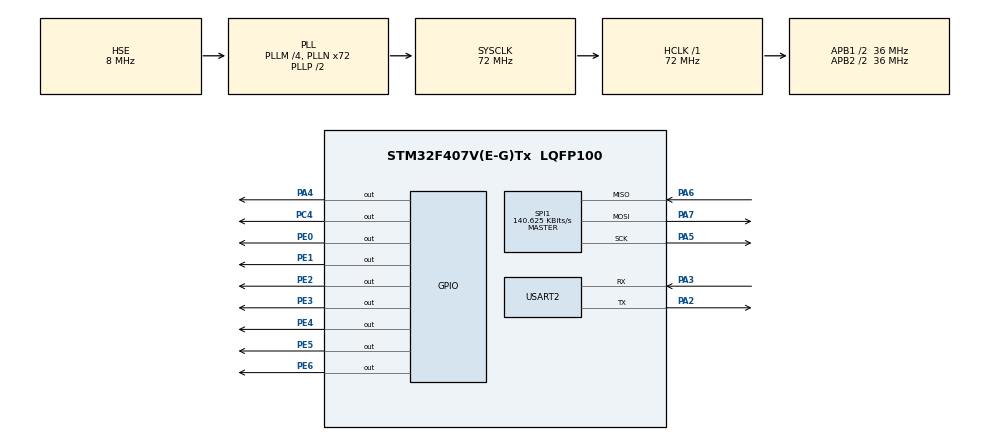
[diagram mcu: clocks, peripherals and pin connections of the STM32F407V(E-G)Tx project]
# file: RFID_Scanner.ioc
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Mcu.Family=STM32F4
Mcu.Name=STM32F407V(E-G)Tx
Mcu.Package=LQFP100
NVIC.PriorityGroup=NVIC_PRIORITYGROUP_0
NVIC.USART2_IRQn=true\:0\:0\:false\:true\:true\:1\:true\:true\:true
PA2.Mode=Asynchronous
PA2.Signal=USART2_TX
PA3.Mode=Asynchronous
PA3.Signal=USART2_RX
PA4.GPIO_PuPd=GPIO_NOPULL
PA4.PinState=GPIO_PIN_SET
PA4.Signal=GPIO_Output
PA5.Mode=Full_Duplex_Master
PA5.Signal=SPI1_SCK
PA6.Mode=Full_Duplex_Master
PA6.Signal=SPI1_MISO
PA7.Mode=Full_Duplex_Master
PA7.Signal=SPI1_MOSI
PC4.GPIO_PuPd=GPIO_PULLUP
PC4.GPIO_Speed=GPIO_SPEED_FREQ_MEDIUM
PC4.PinState=GPIO_PIN_SET
PC4.Signal=GPIO_Output
PE0.Signal=GPIO_Output
PE1.Signal=GPIO_Output
PE2.Signal=GPIO_Output
PE3.Signal=GPIO_Output
PE4.Signal=GPIO_Output
PE5.Signal=GPIO_Output
PE6.Signal=GPIO_Output
PH0-OSC_IN.Mode=HSE-External-Oscillator
PH0-OSC_IN.Signal=RCC_OSC_IN
PH1-OSC_OUT.Mode=HSE-External-Oscillator
PH1-OSC_OUT.Signal=RCC_OSC_OUT
ProjectManager.HeapSize=0x200
ProjectManager.StackSize=0x400
ProjectManager.TargetToolchain=STM32CubeIDE
RCC.48MHZClocksFreq_Value=20571428.57142857
RCC.AHBFreq_Value=72000000
RCC.APB1CLKDivider=RCC_HCLK_DIV2
RCC.APB1Freq_Value=36000000
RCC.APB1TimFreq_Value=72000000
RCC.APB2CLKDivider=RCC_HCLK_DIV2
RCC.APB2Freq_Value=36000000
RCC.APB2TimFreq_Value=72000000
RCC.CortexFreq_Value=72000000
RCC.HCLKFreq_Value=72000000
RCC.HSE_VALUE=8000000
RCC.HSI_VALUE=16000000
RCC.LSE_VALUE=32768
RCC.PLLM=4
RCC.PLLN=72
RCC.PLLQ=7
RCC.PLLSourceVirtual=RCC_PLLSOURCE_HSE
RCC.SYSCLKFreq_VALUE=72000000
RCC.SYSCLKSource=RCC_SYSCLKSOURCE_PLLCLK
RCC.VCOOutputFreq_Value=144000000
SPI1.BaudRatePrescaler=SPI_BAUDRATEPRESCALER_256
SPI1.CalculateBaudRate=140.625 KBits/s
SPI1.Direction=SPI_DIRECTION_2LINES
SPI1.Mode=SPI_MODE_MASTER
SPI1.VirtualType=VM_MASTER
TIM1.Period=0xffff-1
TIM1.Prescaler=71
USART2.VirtualMode=VM_ASYNC
VP_TIM1_VS_ClockSourceINT.Mode=Internal
board=STM32F407G-DISC1

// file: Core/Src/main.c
/* USER CODE BEGIN Header */
/**
  ******************************************************************************
  * @file           : main.c
  * @brief          : Main program body
  ******************************************************************************
  * @attention
  *
  * Copyright (c) 2023 STMicroelectronics.
  * All rights reserved.
  *
  * This software is licensed under terms that can be found in the LICENSE file
  * in the root directory of this software component.
  * If no LICENSE file comes with this software, it is provided AS-IS.
  *
  ******************************************************************************
  */
/* USER CODE END Header */
#include "main.h"

/* USER CODE BEGIN Includes */
#include "stdio.h"
#include "stm32f4xx_LCD1602.h"
#include "stm32f4_mfrc522.h"
/* USER CODE END Includes */

SPI_HandleTypeDef hspi1;

TIM_HandleTypeDef htim1;
 // @suppress("Unused variable declaration in file scope")
UART_HandleTypeDef huart2;

/* USER CODE BEGIN PV */
extern uint8_t CardID[4];
extern uint8_t CardID_Print[50];
extern uint8_t buffer_Detection[50];
uint8_t CompareID[4] = {0xAA, 0xFE, 0x02, 0x3F};

/* USER CODE END PV */

void SystemClock_Config(void);
static void MX_GPIO_Init(void);
static void MX_SPI1_Init(void);
static void MX_USART2_UART_Init(void);
static void MX_TIM1_Init(void);
static void MX_NVIC_Init(void);

int main(void)
{

  /* MCU Configuration--------------------------------------------------------*/

  /* Reset of all peripherals, Initializes the Flash interface and the Systick. */
  HAL_Init();

  /* Configure the system clock */
  SystemClock_Config();

  /* Initialize all configured peripherals */
  MX_GPIO_Init();
  MX_SPI1_Init();
  MX_USART2_UART_Init();
  MX_TIM1_Init();

  /* Initialize interrupts */
  MX_NVIC_Init();
  /* USER CODE BEGIN 2 */
  HAL_TIM_Base_Start(&htim1);
  LCD1602_Init();
  MFRC522_Init();

  LCD1602_TransferString("Initializing>>");
  HAL_Delay(2000);
  LCD1602_Clear();
  /* USER CODE END 2 */

  /* Infinite loop */
  /* USER CODE BEGIN WHILE */
  while (1)
  {
	  LCD1602_Clear();
	  if (ReadCardValue() == MI_OK)
	  {
		  LCD1602_CursorPosition(0, 0);
		  LCD1602_TransferString((char*)buffer_Detection);
		  LCD1602_CursorPosition(1, 0);
		  LCD1602_TransferString((char*)CardID_Print);
		  HAL_Delay(1000);

		  if(MFRC522_Compare(CardID, CompareID) == MI_OK){
			  LCD1602_Clear();
			  LCD1602_CursorPosition(0, 0);
			  LCD1602_TransferString("Is good! :)");
			  HAL_Delay(1000);
		  }
		  else
		  {
			  LCD1602_Clear();
			  LCD1602_CursorPosition(0, 0);
			  LCD1602_TransferString("Is no good! :(");
			  HAL_Delay(1000);

		  }
	      //Print on LCD
		  //HAL_UART_Transmit(&huart2, buffer_Detection, sizeof(buffer_Detection), 100);
	      //sprintf((char*)buffer_Card,"Card value: %lu\r\n", CardID);
	      //HAL_UART_Transmit(&huart2, CardID_Print, sizeof(CardID_Print), 100);

	  }
	  else
	  {
		  LCD1602_CursorPosition(0, 0);
		  //LCD1602_TransferString("buffer");
		  LCD1602_TransferString((char*)buffer_Detection);
 	      //HAL_UART_Transmit(&huart2, buffer_Detection, sizeof(buffer_Detection), 100);
	  }
	  HAL_Delay(500);
    /* USER CODE END WHILE */

  }
}

void SystemClock_Config(void)
{
  RCC_OscInitTypeDef RCC_OscInitStruct = {0};
  RCC_ClkInitTypeDef RCC_ClkInitStruct = {0};

  /** Configure the main internal regulator output voltage
  */
  __HAL_RCC_PWR_CLK_ENABLE();
  __HAL_PWR_VOLTAGESCALING_CONFIG(PWR_REGULATOR_VOLTAGE_SCALE1);

  /** Initializes the RCC Oscillators according to the specified parameters
  * in the RCC_OscInitTypeDef structure.
  */
  RCC_OscInitStruct.OscillatorType = RCC_OSCILLATORTYPE_HSE;
  RCC_OscInitStruct.HSEState = RCC_HSE_ON;
  RCC_OscInitStruct.PLL.PLLState = RCC_PLL_ON;
  RCC_OscInitStruct.PLL.PLLSource = RCC_PLLSOURCE_HSE;
  RCC_OscInitStruct.PLL.PLLM = 4;
  RCC_OscInitStruct.PLL.PLLN = 72;
  RCC_OscInitStruct.PLL.PLLP = RCC_PLLP_DIV2;
  RCC_OscInitStruct.PLL.PLLQ = 7;
  if (HAL_RCC_OscConfig(&RCC_OscInitStruct) != HAL_OK)
  {
    Error_Handler();
  }

  /** Initializes the CPU, AHB and APB buses clocks
  */
  RCC_ClkInitStruct.ClockType = RCC_CLOCKTYPE_HCLK|RCC_CLOCKTYPE_SYSCLK
                              |RCC_CLOCKTYPE_PCLK1|RCC_CLOCKTYPE_PCLK2;
  RCC_ClkInitStruct.SYSCLKSource = RCC_SYSCLKSOURCE_PLLCLK;
  RCC_ClkInitStruct.AHBCLKDivider = RCC_SYSCLK_DIV1;
  RCC_ClkInitStruct.APB1CLKDivider = RCC_HCLK_DIV2;
  RCC_ClkInitStruct.APB2CLKDivider = RCC_HCLK_DIV2;

  if (HAL_RCC_ClockConfig(&RCC_ClkInitStruct, FLASH_LATENCY_2) != HAL_OK)
  {
    Error_Handler();
  }
}

/**
  * @brief NVIC Configuration.
  * @retval None
  */
static void MX_NVIC_Init(void)
{
  /* USART2_IRQn interrupt configuration */
  HAL_NVIC_SetPriority(USART2_IRQn, 0, 0);
  HAL_NVIC_EnableIRQ(USART2_IRQn);
}

static void MX_SPI1_Init(void)
{

  /* SPI1 parameter configuration*/
  hspi1.Instance = SPI1;
  hspi1.Init.Mode = SPI_MODE_MASTER;
  hspi1.Init.Direction = SPI_DIRECTION_2LINES;
  hspi1.Init.DataSize = SPI_DATASIZE_8BIT;
  hspi1.Init.CLKPolarity = SPI_POLARITY_LOW;
  hspi1.Init.CLKPhase = SPI_PHASE_1EDGE;
  hspi1.Init.NSS = SPI_NSS_SOFT;
  hspi1.Init.BaudRatePrescaler = SPI_BAUDRATEPRESCALER_256;
  hspi1.Init.FirstBit = SPI_FIRSTBIT_MSB;
  hspi1.Init.TIMode = SPI_TIMODE_DISABLE;
  hspi1.Init.CRCCalculation = SPI_CRCCALCULATION_DISABLE;
  hspi1.Init.CRCPolynomial = 10;
  if (HAL_SPI_Init(&hspi1) != HAL_OK)
  {
    Error_Handler();
  }

}

static void MX_TIM1_Init(void)
{

  TIM_ClockConfigTypeDef sClockSourceConfig = {0};
  TIM_MasterConfigTypeDef sMasterConfig = {0};

  htim1.Instance = TIM1;
  htim1.Init.Prescaler = 71;
  htim1.Init.CounterMode = TIM_COUNTERMODE_UP;
  htim1.Init.Period = 0xffff-1;
  htim1.Init.ClockDivision = TIM_CLOCKDIVISION_DIV1;
  htim1.Init.RepetitionCounter = 0;
  htim1.Init.AutoReloadPreload = TIM_AUTORELOAD_PRELOAD_DISABLE;
  if (HAL_TIM_Base_Init(&htim1) != HAL_OK)
  {
    Error_Handler();
  }
  sClockSourceConfig.ClockSource = TIM_CLOCKSOURCE_INTERNAL;
  if (HAL_TIM_ConfigClockSource(&htim1, &sClockSourceConfig) != HAL_OK)
  {
    Error_Handler();
  }
  sMasterConfig.MasterOutputTrigger = TIM_TRGO_RESET;
  sMasterConfig.MasterSlaveMode = TIM_MASTERSLAVEMODE_DISABLE;
  if (HAL_TIMEx_MasterConfigSynchronization(&htim1, &sMasterConfig) != HAL_OK)
  {
    Error_Handler();
  }

}

static void MX_USART2_UART_Init(void)
{

  huart2.Instance = USART2;
  huart2.Init.BaudRate = 115200;
  huart2.Init.WordLength = UART_WORDLENGTH_8B;
  huart2.Init.StopBits = UART_STOPBITS_1;
  huart2.Init.Parity = UART_PARITY_NONE;
  huart2.Init.Mode = UART_MODE_TX_RX;
  huart2.Init.HwFlowCtl = UART_HWCONTROL_NONE;
  huart2.Init.OverSampling = UART_OVERSAMPLING_16;
  if (HAL_UART_Init(&huart2) != HAL_OK)
  {
    Error_Handler();
  }

}

static void MX_GPIO_Init(void)
{
  GPIO_InitTypeDef GPIO_InitStruct = {0};

  /* GPIO Ports Clock Enable */
  __HAL_RCC_GPIOE_CLK_ENABLE();
  __HAL_RCC_GPIOH_CLK_ENABLE();
  __HAL_RCC_GPIOA_CLK_ENABLE();
  __HAL_RCC_GPIOC_CLK_ENABLE();

  /*Configure GPIO pin Output Level */
  HAL_GPIO_WritePin(GPIOE, GPIO_PIN_2|GPIO_PIN_3|GPIO_PIN_4|GPIO_PIN_5
                          |GPIO_PIN_6|GPIO_PIN_0|GPIO_PIN_1, GPIO_PIN_RESET);

  /*Configure GPIO pin Output Level */
  HAL_GPIO_WritePin(GPIOA, GPIO_PIN_4, GPIO_PIN_SET);

  /*Configure GPIO pin Output Level */
  HAL_GPIO_WritePin(GPIOC, GPIO_PIN_4, GPIO_PIN_SET);

  /*Configure GPIO pins : PE2 PE3 PE4 PE5
                           PE6 PE0 PE1 */
  GPIO_InitStruct.Pin = GPIO_PIN_2|GPIO_PIN_3|GPIO_PIN_4|GPIO_PIN_5
                          |GPIO_PIN_6|GPIO_PIN_0|GPIO_PIN_1;
  GPIO_InitStruct.Mode = GPIO_MODE_OUTPUT_PP;
  GPIO_InitStruct.Pull = GPIO_NOPULL;
  GPIO_InitStruct.Speed = GPIO_SPEED_FREQ_LOW;
  HAL_GPIO_Init(GPIOE, &GPIO_InitStruct);

  /*Configure GPIO pin : PA4 */
  GPIO_InitStruct.Pin = GPIO_PIN_4;
  GPIO_InitStruct.Mode = GPIO_MODE_OUTPUT_PP;
  GPIO_InitStruct.Pull = GPIO_NOPULL;
  GPIO_InitStruct.Speed = GPIO_SPEED_FREQ_LOW;
  HAL_GPIO_Init(GPIOA, &GPIO_InitStruct);

  /*Configure GPIO pin : PC4 */
  GPIO_InitStruct.Pin = GPIO_PIN_4;
  GPIO_InitStruct.Mode = GPIO_MODE_OUTPUT_PP;
  GPIO_InitStruct.Pull = GPIO_PULLUP;
  GPIO_InitStruct.Speed = GPIO_SPEED_FREQ_MEDIUM;
  HAL_GPIO_Init(GPIOC, &GPIO_InitStruct);

}

void Error_Handler(void)
{
  __disable_irq();
  while (1)
  {
  }
}
